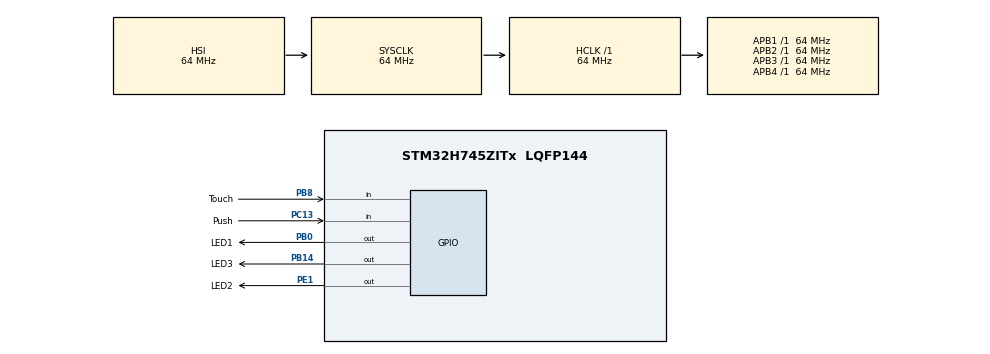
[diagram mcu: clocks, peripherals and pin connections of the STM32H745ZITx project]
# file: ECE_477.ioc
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CortexM4.IPs=BDMA,CORTEX_M4\:I,DEBUG,DMA,FATFS_M4\:I,FREERTOS_M4\:I,IWDG2\:I,MDMA,NVIC2\:I,OPENAMP_M4\:I,PDM2PCM_M4\:I,PWR,RCC,RESMGR_UTILITY,SYS_M4\:I,USB_DEVICE_M4\:I,USB_HOST_M4\:I,VREFBUF,WWDG2\:I
CortexM7.IPs=BDMA\:I,CORTEX_M7\:I,DEBUG\:I,DMA\:I,FATFS_M7\:I,FREERTOS_M7\:I,IWDG1\:I,MDMA\:I,NVIC1\:I,OPENAMP_M7\:I,PDM2PCM_M7\:I,PWR\:I,RCC\:I,RESMGR_UTILITY\:I,SYS\:I,USB_DEVICE_M7\:I,USB_HOST_M7\:I,VREFBUF\:I,WWDG1\:I
CortexM7.Pins=PC13,PB0,PB14,PB8,PE1
Mcu.Family=STM32H7
Mcu.Name=STM32H745ZITx
Mcu.Package=LQFP144
NVIC1.PriorityGroup=NVIC_PRIORITYGROUP_4
NVIC2.PriorityGroup=NVIC_PRIORITYGROUP_4
PB0.GPIO_Label=LED1
PB0.PinAttribute=CortexM7
PB0.Signal=GPIO_Output
PB14.GPIO_Label=LED3
PB14.PinAttribute=CortexM7
PB14.Signal=GPIO_Output
PB8.GPIO_Label=Touch
PB8.PinAttribute=CortexM7
PB8.Signal=GPIO_Input
PC13.GPIO_Label=Push
PC13.PinAttribute=CortexM7
PC13.Signal=GPIO_Input
PE1.GPIO_Label=LED2
PE1.PinAttribute=CortexM7
PE1.Signal=GPIO_Output
ProjectManager.HeapSize=0x200
ProjectManager.StackSize=0x400
ProjectManager.TargetToolchain=STM32CubeIDE
RCC.ADCFreq_Value=129000000
RCC.APB1Freq_Value=64000000
RCC.APB2Freq_Value=64000000
RCC.APB3Freq_Value=64000000
RCC.APB4Freq_Value=64000000
RCC.CortexFreq_Value=64000000
RCC.HCLKFreq_Value=64000000
RCC.SYSCLKFreq_VALUE=64000000
RCC.USBFreq_Value=129000000
VP_SYS_M4_VS_Systick.Mode=SysTick
board=custom

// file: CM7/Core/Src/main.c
/* USER CODE BEGIN Header */
/**
  ******************************************************************************
  * @file           : main.c
  * @brief          : Main program body
  ******************************************************************************
  * @attention
  *
  * <h2><center>&copy; Copyright (c) 2020 STMicroelectronics.
  * All rights reserved.</center></h2>
  *
  * This software component is licensed by ST under BSD 3-Clause license,
  * the "License"; You may not use this file except in compliance with the
  * License. You may obtain a copy of the License at:
  *                        opensource.org/licenses/BSD-3-Clause
  *
  ******************************************************************************
  */
/* USER CODE END Header */
#include "main.h"

/* USER CODE BEGIN PD */

#define HSEM_ID_0 (0U) /* HW semaphore 0*/
/* USER CODE END PD */

void SystemClock_Config(void);
static void MX_GPIO_Init(void);

int main(void)
{

/* USER CODE BEGIN Boot_Mode_Sequence_0 */
  int32_t timeout;
/* USER CODE END Boot_Mode_Sequence_0 */

/* USER CODE BEGIN Boot_Mode_Sequence_1 */
  /* Wait until CPU2 boots and enters in stop mode or timeout*/
  timeout = 0xFFFF;
  while((__HAL_RCC_GET_FLAG(RCC_FLAG_D2CKRDY) != RESET) && (timeout-- > 0));
  if ( timeout < 0 )
  {
  Error_Handler();
  }
/* USER CODE END Boot_Mode_Sequence_1 */
  /* MCU Configuration--------------------------------------------------------*/

  /* Reset of all peripherals, Initializes the Flash interface and the Systick. */
  HAL_Init();

  /* Configure the system clock */
  SystemClock_Config();
/* USER CODE BEGIN Boot_Mode_Sequence_2 */
/* When system initialization is finished, Cortex-M7 will release Cortex-M4 by means of
HSEM notification */
/*HW semaphore Clock enable*/
__HAL_RCC_HSEM_CLK_ENABLE();
/*Take HSEM */
HAL_HSEM_FastTake(HSEM_ID_0);
/*Release HSEM in order to notify the CPU2(CM4)*/
HAL_HSEM_Release(HSEM_ID_0,0);
/* wait until CPU2 wakes up from stop mode */
timeout = 0xFFFF;
while((__HAL_RCC_GET_FLAG(RCC_FLAG_D2CKRDY) == RESET) && (timeout-- > 0));
if ( timeout < 0 )
{
Error_Handler();
}
/* USER CODE END Boot_Mode_Sequence_2 */

  /* Initialize all configured peripherals */
  MX_GPIO_Init();

  /* Infinite loop */
  /* USER CODE BEGIN WHILE */
	//GPIO_PIN_SET => 1
	// GPIO_PIN_RESET => 0

	static unsigned short pin_state = 0;
	static unsigned short pin_state2 = 0;
	static unsigned short pin_state3 = 0;
	static unsigned short pin_state4 = 0;
	static unsigned short User_Button = 0;
	static unsigned short Touch_Button = 0;

  while (1)
  {
    /* USER CODE END WHILE */

    /* USER CODE BEGIN 3 */

		User_Button = HAL_GPIO_ReadPin(Push_GPIO_Port, Push_Pin);
		Touch_Button = HAL_GPIO_ReadPin(Touch_GPIO_Port, Touch_Pin);

		//HAL_GPIO_WritePin(LED3_GPIO_Port, LED3_Pin, User_Button);
		if(Touch_Button){
			  HAL_Delay(6);
			  pin_state = !pin_state;
			  HAL_GPIO_WritePin(LED1_GPIO_Port, LED1_Pin, pin_state);
			  HAL_Delay(20);
			  pin_state2 = !pin_state2;
			  HAL_GPIO_WritePin(LED2_GPIO_Port, LED2_Pin, pin_state2);
			  HAL_Delay(5);
			  pin_state3 = !pin_state3;
			  HAL_GPIO_WritePin(LED3_GPIO_Port, LED3_Pin, pin_state);
		}
		else{
			HAL_Delay(600);
			pin_state = !pin_state;
			HAL_GPIO_WritePin(LED1_GPIO_Port, LED1_Pin, pin_state);
			HAL_Delay(20);
			pin_state2 = !pin_state2;
			HAL_GPIO_WritePin(LED2_GPIO_Port, LED2_Pin, pin_state2);
			HAL_Delay(50);
			pin_state3 = !pin_state3;
			HAL_GPIO_WritePin(LED3_GPIO_Port, LED3_Pin, pin_state);
		}

	  //HAL_Delay(100);

  }
  /* USER CODE END 3 */
}

void SystemClock_Config(void)
{
  RCC_OscInitTypeDef RCC_OscInitStruct = {0};
  RCC_ClkInitTypeDef RCC_ClkInitStruct = {0};

  /** Supply configuration update enable
  */
  HAL_PWREx_ConfigSupply(PWR_DIRECT_SMPS_SUPPLY);
  /** Configure the main internal regulator output voltage
  */
  __HAL_PWR_VOLTAGESCALING_CONFIG(PWR_REGULATOR_VOLTAGE_SCALE3);

  while(!__HAL_PWR_GET_FLAG(PWR_FLAG_VOSRDY)) {}
  /** Initializes the RCC Oscillators according to the specified parameters
  * in the RCC_OscInitTypeDef structure.
  */
  RCC_OscInitStruct.OscillatorType = RCC_OSCILLATORTYPE_HSI;
  RCC_OscInitStruct.HSIState = RCC_HSI_DIV1;
  RCC_OscInitStruct.HSICalibrationValue = RCC_HSICALIBRATION_DEFAULT;
  RCC_OscInitStruct.PLL.PLLState = RCC_PLL_NONE;
  if (HAL_RCC_OscConfig(&RCC_OscInitStruct) != HAL_OK)
  {
    Error_Handler();
  }
  /** Initializes the CPU, AHB and APB buses clocks
  */
  RCC_ClkInitStruct.ClockType = RCC_CLOCKTYPE_HCLK|RCC_CLOCKTYPE_SYSCLK
                              |RCC_CLOCKTYPE_PCLK1|RCC_CLOCKTYPE_PCLK2
                              |RCC_CLOCKTYPE_D3PCLK1|RCC_CLOCKTYPE_D1PCLK1;
  RCC_ClkInitStruct.SYSCLKSource = RCC_SYSCLKSOURCE_HSI;
  RCC_ClkInitStruct.SYSCLKDivider = RCC_SYSCLK_DIV1;
  RCC_ClkInitStruct.AHBCLKDivider = RCC_HCLK_DIV1;
  RCC_ClkInitStruct.APB3CLKDivider = RCC_APB3_DIV1;
  RCC_ClkInitStruct.APB1CLKDivider = RCC_APB1_DIV1;
  RCC_ClkInitStruct.APB2CLKDivider = RCC_APB2_DIV1;
  RCC_ClkInitStruct.APB4CLKDivider = RCC_APB4_DIV1;

  if (HAL_RCC_ClockConfig(&RCC_ClkInitStruct, FLASH_LATENCY_0) != HAL_OK)
  {
    Error_Handler();
  }
}

static void MX_GPIO_Init(void)
{
  GPIO_InitTypeDef GPIO_InitStruct = {0};

  /* GPIO Ports Clock Enable */
  __HAL_RCC_GPIOC_CLK_ENABLE();
  __HAL_RCC_GPIOB_CLK_ENABLE();
  __HAL_RCC_GPIOE_CLK_ENABLE();

  /*Configure GPIO pin Output Level */
  HAL_GPIO_WritePin(GPIOB, LED1_Pin|LED3_Pin, GPIO_PIN_RESET);

  /*Configure GPIO pin Output Level */
  HAL_GPIO_WritePin(LED2_GPIO_Port, LED2_Pin, GPIO_PIN_RESET);

  /*Configure GPIO pin : Push_Pin */
  GPIO_InitStruct.Pin = Push_Pin;
  GPIO_InitStruct.Mode = GPIO_MODE_INPUT;
  GPIO_InitStruct.Pull = GPIO_NOPULL;
  HAL_GPIO_Init(Push_GPIO_Port, &GPIO_InitStruct);

  /*Configure GPIO pins : LED1_Pin LED3_Pin */
  GPIO_InitStruct.Pin = LED1_Pin|LED3_Pin;
  GPIO_InitStruct.Mode = GPIO_MODE_OUTPUT_PP;
  GPIO_InitStruct.Pull = GPIO_NOPULL;
  GPIO_InitStruct.Speed = GPIO_SPEED_FREQ_LOW;
  HAL_GPIO_Init(GPIOB, &GPIO_InitStruct);

  /*Configure GPIO pin : Touch_Pin */
  GPIO_InitStruct.Pin = Touch_Pin;
  GPIO_InitStruct.Mode = GPIO_MODE_INPUT;
  GPIO_InitStruct.Pull = GPIO_NOPULL;
  HAL_GPIO_Init(Touch_GPIO_Port, &GPIO_InitStruct);

  /*Configure GPIO pin : LED2_Pin */
  GPIO_InitStruct.Pin = LED2_Pin;
  GPIO_InitStruct.Mode = GPIO_MODE_OUTPUT_PP;
  GPIO_InitStruct.Pull = GPIO_NOPULL;
  GPIO_InitStruct.Speed = GPIO_SPEED_FREQ_LOW;
  HAL_GPIO_Init(LED2_GPIO_Port, &GPIO_InitStruct);

}

void Error_Handler(void)
{
}

/************************ (C) COPYRIGHT STMicroelectronics *****END OF FILE****/
